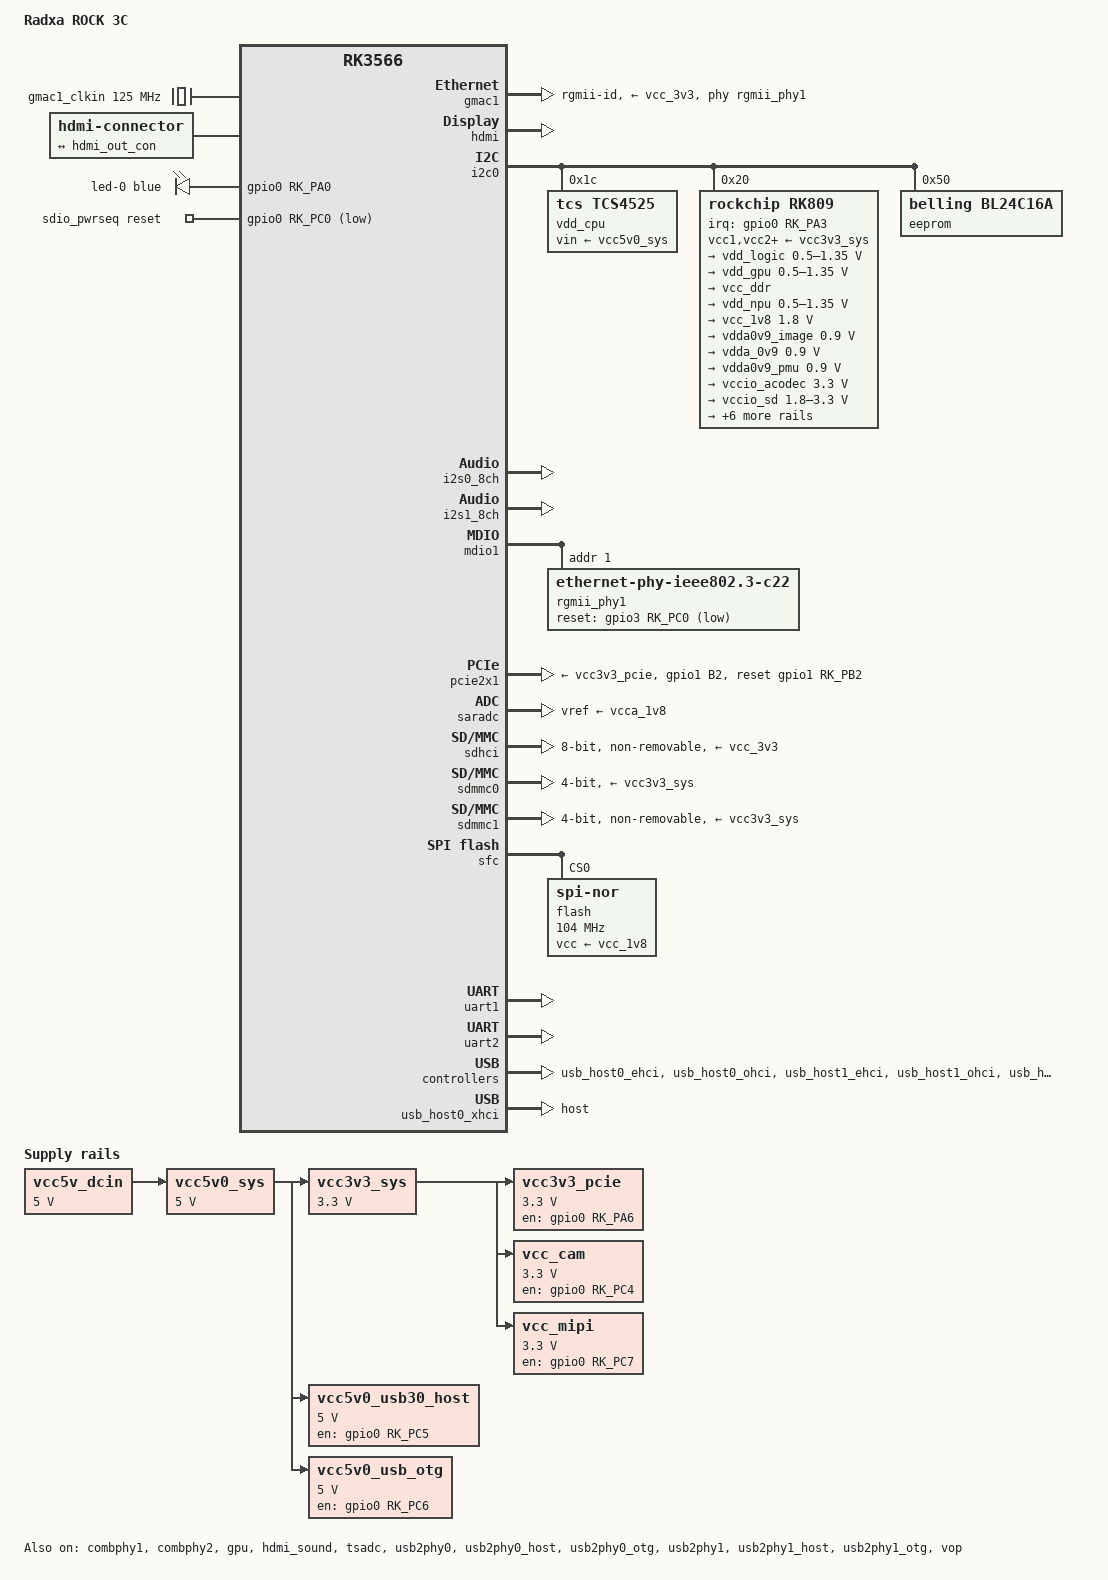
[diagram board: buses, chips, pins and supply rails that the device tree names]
// SPDX-License-Identifier: (GPL-2.0+ OR MIT)

/dts-v1/;
#include <dt-bindings/gpio/gpio.h>
#include <dt-bindings/leds/common.h>
#include <dt-bindings/pinctrl/rockchip.h>
#include <dt-bindings/soc/rockchip,vop2.h>
#include "rk3566t.dtsi"

/ {
	model = "Radxa ROCK 3C";
	compatible = "radxa,rock-3c", "rockchip,rk3566";

	aliases {
		ethernet0 = &gmac1;
		mmc0 = &sdhci;
		mmc1 = &sdmmc0;
		mmc2 = &sdmmc1;
	};

	chosen: chosen {
		stdout-path = "serial2:1500000n8";
	};

	gmac1_clkin: external-gmac1-clock {
		compatible = "fixed-clock";
		clock-frequency = <125000000>;
		clock-output-names = "gmac1_clkin";
		#clock-cells = <0>;
	};

	hdmi-con {
		compatible = "hdmi-connector";
		type = "a";

		port {
			hdmi_con_in: endpoint {
				remote-endpoint = <&hdmi_out_con>;
			};
		};
	};

	leds {
		compatible = "gpio-leds";

		led-0 {
			gpios = <&gpio0 RK_PA0 GPIO_ACTIVE_HIGH>;
			function = LED_FUNCTION_HEARTBEAT;
			color = <LED_COLOR_ID_BLUE>;
			linux,default-trigger = "heartbeat";
			pinctrl-names = "default";
			pinctrl-0 = <&user_led2>;
		};
	};

	sdio_pwrseq: sdio-pwrseq {
		compatible = "mmc-pwrseq-simple";
		clocks = <&rk809 1>;
		clock-names = "ext_clock";
		pinctrl-names = "default";
		pinctrl-0 = <&wifi_reg_on_h>;
		post-power-on-delay-ms = <100>;
		power-off-delay-us = <5000000>;
		reset-gpios = <&gpio0 RK_PC0 GPIO_ACTIVE_LOW>;
	};

	vcc5v_dcin: regulator-vcc5v-dcin {
		compatible = "regulator-fixed";
		regulator-name = "vcc5v_dcin";
		regulator-always-on;
		regulator-boot-on;
		regulator-min-microvolt = <5000000>;
		regulator-max-microvolt = <5000000>;
	};

	vcc3v3_pcie: regulator-vcc3v3-pcie {
		compatible = "regulator-fixed";
		enable-active-high;
		gpios = <&gpio0 RK_PA6 GPIO_ACTIVE_HIGH>;
		pinctrl-names = "default";
		pinctrl-0 = <&pcie_pwr_en>;
		regulator-name = "vcc3v3_pcie";
		regulator-min-microvolt = <3300000>;
		regulator-max-microvolt = <3300000>;
		vin-supply = <&vcc3v3_sys>;
	};

	vcc3v3_sys: regulator-vcc3v3-sys {
		compatible = "regulator-fixed";
		regulator-name = "vcc3v3_sys";
		regulator-always-on;
		regulator-boot-on;
		regulator-min-microvolt = <3300000>;
		regulator-max-microvolt = <3300000>;
		vin-supply = <&vcc5v0_sys>;
	};

	vcc5v0_sys: regulator-vcc5v0-sys {
		compatible = "regulator-fixed";
		regulator-name = "vcc5v0_sys";
		regulator-always-on;
		regulator-boot-on;
		regulator-min-microvolt = <5000000>;
		regulator-max-microvolt = <5000000>;
		vin-supply = <&vcc5v_dcin>;
	};

	vcc5v0_usb30_host: regulator-vcc5v0-usb30-host {
		compatible = "regulator-fixed";
		enable-active-high;
		gpio = <&gpio0 RK_PC5 GPIO_ACTIVE_HIGH>;
		pinctrl-names = "default";
		pinctrl-0 = <&vcc5v0_usb30_host_en>;
		regulator-name = "vcc5v0_usb30_host";
		regulator-min-microvolt = <5000000>;
		regulator-max-microvolt = <5000000>;
		vin-supply = <&vcc5v0_sys>;
	};

	vcc5v0_usb_otg: regulator-vcc5v0-usb-otg {
		compatible = "regulator-fixed";
		enable-active-high;
		gpio = <&gpio0 RK_PC6 GPIO_ACTIVE_HIGH>;
		pinctrl-names = "default";
		pinctrl-0 = <&vcc5v0_usb_otg_en>;
		regulator-name = "vcc5v0_usb_otg";
		regulator-min-microvolt = <5000000>;
		regulator-max-microvolt = <5000000>;
		vin-supply = <&vcc5v0_sys>;
	};

	vcc_cam: regulator-vcc-cam {
		compatible = "regulator-fixed";
		enable-active-high;
		gpio = <&gpio0 RK_PC4 GPIO_ACTIVE_HIGH>;
		pinctrl-names = "default";
		pinctrl-0 = <&vcc_cam_en>;
		regulator-name = "vcc_cam";
		regulator-min-microvolt = <3300000>;
		regulator-max-microvolt = <3300000>;
		vin-supply = <&vcc3v3_sys>;

		regulator-state-mem {
			regulator-off-in-suspend;
		};
	};

	vcc_mipi: regulator-vcc-mipi {
		compatible = "regulator-fixed";
		enable-active-high;
		gpio = <&gpio0 RK_PC7 GPIO_ACTIVE_HIGH>;
		pinctrl-names = "default";
		pinctrl-0 = <&vcc_mipi_en>;
		regulator-name = "vcc_mipi";
		regulator-min-microvolt = <3300000>;
		regulator-max-microvolt = <3300000>;
		vin-supply = <&vcc3v3_sys>;

		regulator-state-mem {
			regulator-off-in-suspend;
		};
	};
};

&combphy1 {
	status = "okay";
};

&combphy2 {
	status = "okay";
};

&cpu0 {
	cpu-supply = <&vdd_cpu>;
};

&cpu1 {
	cpu-supply = <&vdd_cpu>;
};

&cpu2 {
	cpu-supply = <&vdd_cpu>;
};

&cpu3 {
	cpu-supply = <&vdd_cpu>;
};

&gmac1 {
	assigned-clocks = <&cru SCLK_GMAC1_RX_TX>, <&cru SCLK_GMAC1>;
	assigned-clock-parents = <&cru SCLK_GMAC1_RGMII_SPEED>, <&gmac1_clkin>;
	clock_in_out = "input";
	phy-handle = <&rgmii_phy1>;
	phy-mode = "rgmii-id";
	phy-supply = <&vcc_3v3>;
	pinctrl-names = "default";
	pinctrl-0 = <&gmac1m1_miim
		     &gmac1m1_tx_bus2
		     &gmac1m1_rx_bus2
		     &gmac1m1_rgmii_clk
		     &gmac1m1_rgmii_bus
		     &gmac1m1_clkinout>;
	status = "okay";
};

&gpu {
	mali-supply = <&vdd_gpu>;
	status = "okay";
};

&hdmi {
	avdd-0v9-supply = <&vdda0v9_image>;
	avdd-1v8-supply = <&vcca1v8_image>;
	status = "okay";
};

&hdmi_in {
	hdmi_in_vp0: endpoint {
		remote-endpoint = <&vp0_out_hdmi>;
	};
};

&hdmi_out {
	hdmi_out_con: endpoint {
		remote-endpoint = <&hdmi_con_in>;
	};
};

&hdmi_sound {
	status = "okay";
};

&i2c0 {
	status = "okay";

	vdd_cpu: regulator@1c {
		compatible = "tcs,tcs4525";
		reg = <0x1c>;
		fcs,suspend-voltage-selector = <1>;
		regulator-name = "vdd_cpu";
		regulator-always-on;
		regulator-boot-on;
		regulator-min-microvolt = <800000>;
		regulator-max-microvolt = <1150000>;
		regulator-ramp-delay = <2300>;
		vin-supply = <&vcc5v0_sys>;

		regulator-state-mem {
			regulator-off-in-suspend;
		};
	};

	rk809: pmic@20 {
		compatible = "rockchip,rk809";
		reg = <0x20>;
		interrupt-parent = <&gpio0>;
		interrupts = <RK_PA3 IRQ_TYPE_LEVEL_LOW>;
		clock-output-names = "rk808-clkout1", "rk808-clkout2";
		pinctrl-names = "default";
		pinctrl-0 = <&pmic_int_l>, <&i2s1m0_mclk>;
		system-power-controller;
		vcc1-supply = <&vcc3v3_sys>;
		vcc2-supply = <&vcc3v3_sys>;
		vcc3-supply = <&vcc3v3_sys>;
		vcc4-supply = <&vcc3v3_sys>;
		vcc5-supply = <&vcc3v3_sys>;
		vcc6-supply = <&vcc3v3_sys>;
		vcc7-supply = <&vcc3v3_sys>;
		vcc8-supply = <&vcc3v3_sys>;
		vcc9-supply = <&vcc3v3_sys>;
		wakeup-source;
		#clock-cells = <1>;

		regulators {
			vdd_logic: DCDC_REG1 {
				regulator-name = "vdd_logic";
				regulator-always-on;
				regulator-boot-on;
				regulator-initial-mode = <0x2>;
				regulator-min-microvolt = <500000>;
				regulator-max-microvolt = <1350000>;
				regulator-ramp-delay = <6001>;

				regulator-state-mem {
					regulator-off-in-suspend;
					regulator-suspend-microvolt = <900000>;
				};
			};

			vdd_gpu: DCDC_REG2 {
				regulator-name = "vdd_gpu";
				regulator-always-on;
				regulator-boot-on;
				regulator-initial-mode = <0x2>;
				regulator-min-microvolt = <500000>;
				regulator-max-microvolt = <1350000>;
				regulator-ramp-delay = <6001>;

				regulator-state-mem {
					regulator-off-in-suspend;
					regulator-suspend-microvolt = <900000>;
				};
			};

			vcc_ddr: DCDC_REG3 {
				regulator-name = "vcc_ddr";
				regulator-always-on;
				regulator-boot-on;
				regulator-initial-mode = <0x2>;

				regulator-state-mem {
					regulator-on-in-suspend;
				};
			};

			vdd_npu: DCDC_REG4 {
				regulator-name = "vdd_npu";
				regulator-initial-mode = <0x2>;
				regulator-min-microvolt = <500000>;
				regulator-max-microvolt = <1350000>;
				regulator-ramp-delay = <6001>;

				regulator-state-mem {
					regulator-off-in-suspend;
				};
			};

			vcc_1v8: DCDC_REG5 {
				regulator-name = "vcc_1v8";
				regulator-always-on;
				regulator-boot-on;
				regulator-min-microvolt = <1800000>;
				regulator-max-microvolt = <1800000>;

				regulator-state-mem {
					regulator-off-in-suspend;
				};
			};

			vdda0v9_image: LDO_REG1 {
				regulator-name = "vdda0v9_image";
				regulator-min-microvolt = <900000>;
				regulator-max-microvolt = <900000>;

				regulator-state-mem {
					regulator-off-in-suspend;
				};
			};

			vdda_0v9: LDO_REG2 {
				regulator-name = "vdda_0v9";
				regulator-always-on;
				regulator-boot-on;
				regulator-min-microvolt = <900000>;
				regulator-max-microvolt = <900000>;

				regulator-state-mem {
					regulator-off-in-suspend;
				};
			};

			vdda0v9_pmu: LDO_REG3 {
				regulator-name = "vdda0v9_pmu";
				regulator-always-on;
				regulator-boot-on;
				regulator-min-microvolt = <900000>;
				regulator-max-microvolt = <900000>;

				regulator-state-mem {
					regulator-on-in-suspend;
					regulator-suspend-microvolt = <900000>;
				};
			};

			vccio_acodec: LDO_REG4 {
				regulator-name = "vccio_acodec";
				regulator-always-on;
				regulator-boot-on;
				regulator-min-microvolt = <3300000>;
				regulator-max-microvolt = <3300000>;

				regulator-state-mem {
					regulator-off-in-suspend;
				};
			};

			vccio_sd: LDO_REG5 {
				regulator-name = "vccio_sd";
				regulator-min-microvolt = <1800000>;
				regulator-max-microvolt = <3300000>;

				regulator-state-mem {
					regulator-off-in-suspend;
				};
			};

			vcc3v3_pmu: LDO_REG6 {
				regulator-name = "vcc3v3_pmu";
				regulator-always-on;
				regulator-boot-on;
				regulator-min-microvolt = <3300000>;
				regulator-max-microvolt = <3300000>;

				regulator-state-mem {
					regulator-on-in-suspend;
					regulator-suspend-microvolt = <3300000>;
				};
			};

			vcca_1v8: LDO_REG7 {
				regulator-name = "vcca_1v8";
				regulator-always-on;
				regulator-boot-on;
				regulator-min-microvolt = <1800000>;
				regulator-max-microvolt = <1800000>;

				regulator-state-mem {
					regulator-off-in-suspend;
				};
			};

			vcca1v8_pmu: LDO_REG8 {
				regulator-name = "vcca1v8_pmu";
				regulator-always-on;
				regulator-boot-on;
				regulator-min-microvolt = <1800000>;
				regulator-max-microvolt = <1800000>;

				regulator-state-mem {
					regulator-on-in-suspend;
					regulator-suspend-microvolt = <1800000>;
				};
			};

			vcca1v8_image: LDO_REG9 {
				regulator-name = "vcca1v8_image";
				regulator-min-microvolt = <1800000>;
				regulator-max-microvolt = <1800000>;

				regulator-state-mem {
					regulator-off-in-suspend;
				};
			};

			vcc_3v3: SWITCH_REG1 {
				regulator-name = "vcc_3v3";
				regulator-always-on;
				regulator-boot-on;

				regulator-state-mem {
					regulator-off-in-suspend;
				};
			};

			vcc3v3_sd: SWITCH_REG2 {
				regulator-name = "vcc3v3_sd";

				regulator-state-mem {
					regulator-off-in-suspend;
				};
			};
		};
	};

	eeprom: eeprom@50 {
		compatible = "belling,bl24c16a", "atmel,24c16";
		reg = <0x50>;
		pagesize = <16>;
	};
};

&i2s0_8ch {
	status = "okay";
};

&i2s1_8ch {
	pinctrl-names = "default";
	pinctrl-0 = <&i2s1m0_sclktx &i2s1m0_lrcktx &i2s1m0_sdi0 &i2s1m0_sdo0>;
	rockchip,trcm-sync-tx-only;
	status = "okay";
};

&mdio1 {
	rgmii_phy1: ethernet-phy@1 {
		compatible = "ethernet-phy-ieee802.3-c22";
		reg = <0x1>;
		reset-assert-us = <20000>;
		reset-deassert-us = <100000>;
		reset-gpios = <&gpio3 RK_PC0 GPIO_ACTIVE_LOW>;
	};
};

&pcie2x1 {
	pinctrl-names = "default";
	pinctrl-0 = <&pcie_reset_h>;
	reset-gpios = <&gpio1 RK_PB2 GPIO_ACTIVE_HIGH>;
	vpcie3v3-supply = <&vcc3v3_pcie>;
	status = "okay";
};

&pinctrl {
	bluetooth {
		bt_reg_on_h: bt-reg-on-h {
			rockchip,pins = <0 RK_PC1 RK_FUNC_GPIO &pcfg_pull_none>;
		};

		bt_wake_host_h: bt-wake-host-h {
			rockchip,pins = <0 RK_PB3 RK_FUNC_GPIO &pcfg_pull_none>;
		};

		bt_host_wake_h: bt-host-wake-h {
			rockchip,pins = <0 RK_PB4 RK_FUNC_GPIO &pcfg_pull_none>;
		};
	};

	cam {
		vcc_cam_en: vcc_cam_en {
			rockchip,pins = <0 RK_PC4 RK_FUNC_GPIO &pcfg_pull_none>;
		};
	};

	display {
		vcc_mipi_en: vcc_mipi_en {
			rockchip,pins = <0 RK_PC7 RK_FUNC_GPIO &pcfg_pull_none>;
		};
	};

	leds {
		user_led2: user-led2 {
			rockchip,pins = <0 RK_PA0 RK_FUNC_GPIO &pcfg_pull_none>;
		};
	};

	pcie {
		pcie_pwr_en: pcie-pwr-en {
			rockchip,pins = <0 RK_PA6 RK_FUNC_GPIO &pcfg_pull_none>;
		};

		pcie_reset_h: pcie-reset-h {
			rockchip,pins = <1 RK_PB2 RK_FUNC_GPIO &pcfg_pull_none>;
		};
	};

	pmic {
		pmic_int_l: pmic-int-l {
			rockchip,pins = <0 RK_PA3 RK_FUNC_GPIO &pcfg_pull_up>;
		};
	};

	usb {
		vcc5v0_usb30_host_en: vcc5v0-usb30-host-en {
			rockchip,pins = <0 RK_PC5 RK_FUNC_GPIO &pcfg_pull_none>;
		};

		vcc5v0_usb_otg_en: vcc5v0-usb-otg-en {
			rockchip,pins = <0 RK_PC6 RK_FUNC_GPIO &pcfg_pull_none>;
		};
	};

	wifi {
		wifi_host_wake_h: wifi-host-wake-h {
			rockchip,pins = <0 RK_PB7 RK_FUNC_GPIO &pcfg_pull_none>;
		};

		wifi_reg_on_h: wifi-reg-on-h {
			rockchip,pins = <0 RK_PC0 RK_FUNC_GPIO &pcfg_pull_none>;
		};
	};
};

&pmu_io_domains {
	pmuio1-supply = <&vcc3v3_pmu>;
	pmuio2-supply = <&vcca1v8_pmu>;
	vccio1-supply = <&vccio_acodec>;
	vccio2-supply = <&vcc_1v8>;
	vccio3-supply = <&vccio_sd>;
	vccio4-supply = <&vcca1v8_pmu>;
	vccio5-supply = <&vcc_3v3>;
	vccio6-supply = <&vcc_3v3>;
	vccio7-supply = <&vcc_3v3>;
	status = "okay";
};

&saradc {
	vref-supply = <&vcca_1v8>;
	status = "okay";
};

&sdhci {
	bus-width = <8>;
	max-frequency = <200000000>;
	mmc-hs200-1_8v;
	non-removable;
	pinctrl-names = "default";
	pinctrl-0 = <&emmc_bus8 &emmc_clk &emmc_cmd &emmc_datastrobe>;
	vmmc-supply = <&vcc_3v3>;
	vqmmc-supply = <&vcc_1v8>;
	status = "okay";
};

&sdmmc0 {
	bus-width = <4>;
	cap-sd-highspeed;
	disable-wp;
	pinctrl-names = "default";
	pinctrl-0 = <&sdmmc0_bus4 &sdmmc0_clk &sdmmc0_cmd &sdmmc0_det>;
	sd-uhs-sdr50;
	vmmc-supply = <&vcc3v3_sys>;
	vqmmc-supply = <&vccio_sd>;
	status = "okay";
};

&sdmmc1 {
	bus-width = <4>;
	cap-sd-highspeed;
	cap-sdio-irq;
	keep-power-in-suspend;
	mmc-pwrseq = <&sdio_pwrseq>;
	non-removable;
	pinctrl-names = "default";
	pinctrl-0 = <&sdmmc1_bus4 &sdmmc1_clk &sdmmc1_cmd>;
	sd-uhs-sdr104;
	vmmc-supply = <&vcc3v3_sys>;
	vqmmc-supply = <&vcca1v8_pmu>;
	status = "okay";
};

&sfc {
	#address-cells = <1>;
	#size-cells = <0>;
	status = "okay";

	flash@0 {
		compatible = "jedec,spi-nor";
		reg = <0x0>;
		spi-max-frequency = <104000000>;
		spi-rx-bus-width = <4>;
		spi-tx-bus-width = <1>;
		vcc-supply = <&vcc_1v8>;
	};
};

&tsadc {
	rockchip,hw-tshut-mode = <1>;
	rockchip,hw-tshut-polarity = <0>;
	status = "okay";
};

&uart1 {
	pinctrl-names = "default";
	pinctrl-0 = <&uart1m0_ctsn &uart1m0_rtsn &uart1m0_xfer>;
	status = "okay";
};

&uart2 {
	status = "okay";
};

&usb_host0_ehci {
	status = "okay";
};

&usb_host0_ohci {
	status = "okay";
};

&usb_host0_xhci {
	dr_mode = "host";
	status = "okay";
};

&usb_host1_ehci {
	status = "okay";
};

&usb_host1_ohci {
	status = "okay";
};

&usb_host1_xhci {
	status = "okay";
};

&usb2phy0 {
	status = "okay";
};

&usb2phy0_host {
	phy-supply = <&vcc5v0_usb30_host>;
	status = "okay";
};

&usb2phy0_otg {
	phy-supply = <&vcc5v0_usb_otg>;
	status = "okay";
};

&usb2phy1 {
	status = "okay";
};

&usb2phy1_host {
	phy-supply = <&vcc5v0_usb30_host>;
	status = "okay";
};

&usb2phy1_otg {
	phy-supply = <&vcc5v0_usb30_host>;
	status = "okay";
};

&vop {
	assigned-clocks = <&cru DCLK_VOP0>, <&cru DCLK_VOP1>;
	assigned-clock-parents = <&pmucru PLL_HPLL>, <&cru PLL_VPLL>;
	status = "okay";
};

&vop_mmu {
	status = "okay";
};

&vp0 {
	vp0_out_hdmi: endpoint@ROCKCHIP_VOP2_EP_HDMI0 {
		reg = <ROCKCHIP_VOP2_EP_HDMI0>;
		remote-endpoint = <&hdmi_in_vp0>;
	};
};
